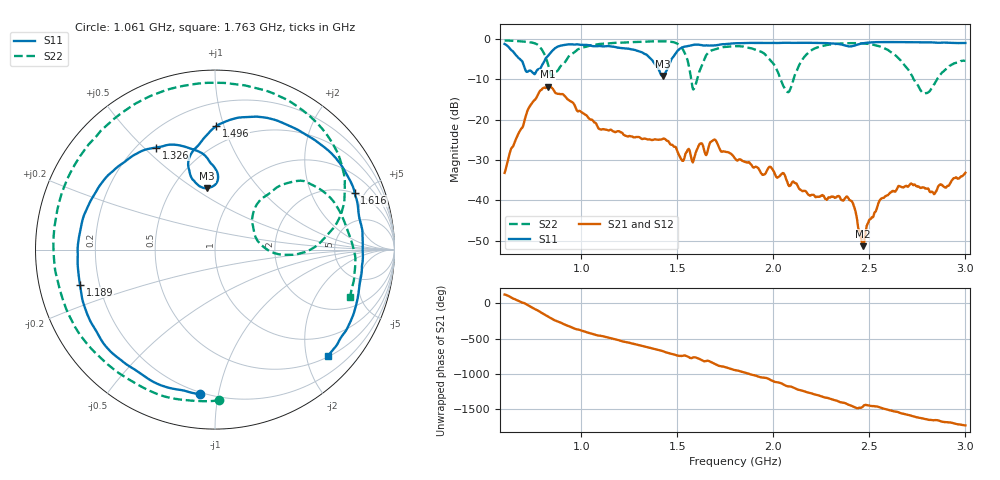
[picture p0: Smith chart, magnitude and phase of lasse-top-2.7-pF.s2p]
#  HZ  S  RI  R  50.00
! Rohde & Schwarz ZVB8 2Ports - Version 2.81 - 1145.1010k08 SN: 100113
! Date: 2016-03-31 04:16:16
! Measurements: S11 S21 S12 S22
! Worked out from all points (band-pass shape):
!   1000 points, 600 MHz to 3 GHz, reference 50 ohm
!   highest |S21| = -11.82 dB at 823.4 MHz (marker M1); lowest = -51.3 dB at 2.467 GHz (marker M2)
!   |S21| within 3 dB of the highest: 762.6 MHz to 924.9 MHz (162.3 MHz wide, 19.2 % of centre)
!   lowest |S11| = -9.2 dB at 1.424 GHz (marker M3), VSWR 2.06, Z = 36.5 + j28.4 ohm
!   |S11| at or under -10 dB: nowhere
!   |S22| runs from -13.5 to -0.4 dB; largest |S21 - S12| = 0.0028
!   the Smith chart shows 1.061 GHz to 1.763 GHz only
!   S11 on the Smith chart (normalised r, x): 1.061 GHz: 0.19, -0.89; 1.189 GHz: 0.13, -0.13; 1.326 GHz: 0.27, +0.54; 1.496 GHz: 0.36, +0.94; 1.616 GHz: 1.97, +4.24; 1.763 GHz: 0.51, -2.42
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6e8  0.1516 0.8482  -0.0118 0.0185  -0.0117 0.0184  -0.1065 0.9468
7.489489e8  0.2892 0.2431  0.0559 -0.1582  0.0566 -0.1581  0.8333 0.312
8.234234e8  0.4743 0.3744  -0.2559 0.0194  -0.2556 0.0189  0.4511 -0.2325
1.001201e9  0.3777 -0.751  0.1094 -0.0564  0.1093 -0.056  0.4526 -0.6251
1.061261e9  -0.0822 -0.8054  0.0213 -0.0939  0.0213 -0.0938  0.0247 -0.8396
1.188589e9  -0.7523 -0.1951  -0.0667 -0.0267  -0.0666 -0.0267  -0.8239 -0.3425
1.325526e9  -0.3286 0.5687  -0.0204 0.0544  -0.0204 0.0543  -0.6052 0.6904
1.4e9  0.013 0.4301  0.0281 0.0489  0.028 0.0489  -0.0783 0.9267
1.424024e9  -0.0437 0.3426  0.0426 0.039  0.0425 0.0388  0.1281 0.9193
1.496096e9  0.00688 0.6876  0.0404 -0.0134  0.0403 -0.0134  0.6662 0.5714
1.558559e9  0.4956 0.6466  0.0328 -0.0285  0.0328 -0.0285  0.473 -0.0216
1.616216e9  0.7782 0.3162  0.0179 -0.0469  0.018 -0.0468  0.2746 0.2936
1.762763e9  0.628 -0.5944  -0.0384 0.0099  -0.0383 0.00984  0.7513 -0.2644
1.801201e9  0.4099 -0.7778  -0.0227 0.0237  -0.0226 0.0238  0.648 -0.4863
2.007808e9  -0.8723 -0.1637  0.0179 -0.0112  0.0179 -0.0112  -0.3464 -0.302
2.106306e9  -0.693 0.5548  -0.00749 -0.0151  -0.00744 -0.0151  -0.0856 -0.3142
2.2e9  -0.1274 0.881  -0.0113 0.00317  -0.0113 0.00318  -0.6411 -0.3413
2.303303e9  0.5074 0.7137  0.00138 0.0111  0.00134 0.0111  -0.7371 0.4292
2.466667e9  0.8798 0.000658  0.00258 -0.000854  0.00264 -0.000903  0.2789 0.8277
2.601201e9  0.5497 -0.7261  0.00456 -0.0111  0.0046 -0.0111  0.709 0.0879
2.836637e9  -0.78 -0.4458  -0.00998 0.0066  -0.01 0.00667  0.2715 -0.00659
3e9  -0.6385 0.6152  0.00678 0.0209  0.00675 0.021  0.3175 -0.4273
